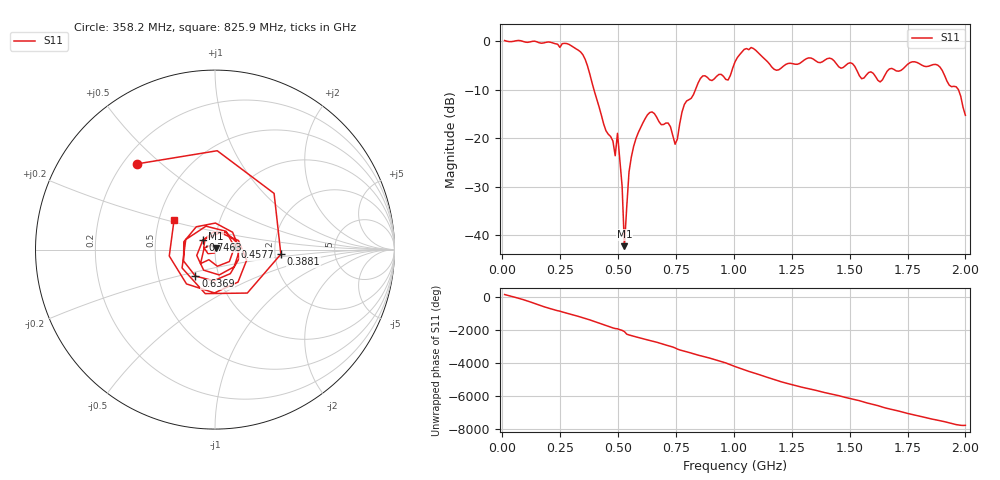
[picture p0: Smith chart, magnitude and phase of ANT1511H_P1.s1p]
!Created with skrf (http://scikit-rf.org).
# Hz S RI R 50.0
!freq ReS11 ImS11
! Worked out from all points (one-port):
!   201 points, 10 MHz to 2 GHz, reference 50 ohm
!   lowest |S11| = -42.2 dB at 527.4 MHz (marker M1), VSWR 1.02, Z = 50.4 + j0.65 ohm
!   |S11| at or under -10 dB: 395.7 MHz to 834.5 MHz (438.8 MHz wide, 71.3 % of centre); 1.97 GHz to end of sweep
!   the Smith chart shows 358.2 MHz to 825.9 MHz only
!   S11 on the Smith chart (normalised r, x): 358.2 MHz: 0.26, +0.42; 388.1 MHz: 2.15, -0.13; 457.8 MHz: 1.24, +0.04; 636.9 MHz: 0.77, -0.24; 746.3 MHz: 0.87, +0.10; 825.9 MHz: 0.60, +0.21
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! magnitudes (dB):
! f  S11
! 10 MHz  0.1
! 258.8 MHz  -0.6
! 358.2 MHz  -3.8
! 388.1 MHz  -8.7
! 457.8 MHz  -19.2
! 487.6 MHz  -23.6
! 497.6 MHz  -19.0
! 507.5 MHz  -24.3
! 517.5 MHz  -29.8
! 527.4 MHz  -42.2
! 547.3 MHz  -26.9
! 557.2 MHz  -23.9
! 636.9 MHz  -14.7
! 746.3 MHz  -21.2
! 756.2 MHz  -20.2
! 786.1 MHz  -13.1
! 825.9 MHz  -11.0
! 865.7 MHz  -7.2
! 975.1 MHz  -8.0
! 1.005 GHz  -4.3
! 1.075 GHz  -1.4
! 1.184 GHz  -6.0
! 1.254 GHz  -4.7
! 1.502 GHz  -4.5
! 1.632 GHz  -8.4
! 1.751 GHz  -4.8
! 1.891 GHz  -5.4
! 2 GHz  -15.3
